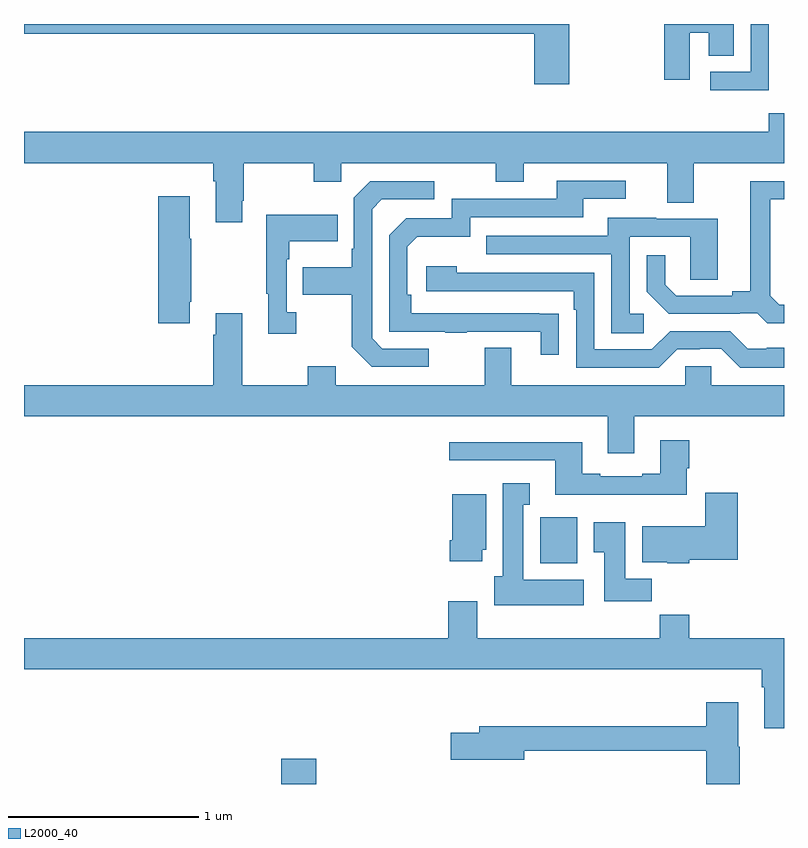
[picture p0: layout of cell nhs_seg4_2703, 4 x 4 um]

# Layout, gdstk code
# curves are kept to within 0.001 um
import gdstk
lib = gdstk.Library(unit=1e-6, precision=1e-09)
def R(c, l, rs):  # rectangles x0, y0, x1, y1
    for r in rs: c.add(gdstk.rectangle(r[:2], r[2:], *l))
def P(c, l, *ps):  # polygons
    for p in ps: c.add(gdstk.Polygon(p, *l))
L2000_40 = (2000, 40)

nhs_seg4_2703 = lib.new_cell('nhs_seg4_2703')
R(nhs_seg4_2703, L2000_40, [(254.354,778.9,254.537,779.032), (255.716,780.062,255.913,780.304)])
P(nhs_seg4_2703, L2000_40, [(256.504,782.855),(256.604,782.855),(256.604,782.734),(256.735,782.734),(256.735,782.9),(256.37,782.9),(256.37,782.607),(256.504,782.607)],
  [(255.869,782.9),(253,782.9),(253,782.848),(255.686,782.848),(255.686,782.583),(255.869,782.583)],
  [(256.92,782.9),(256.824,782.9),(256.824,782.649),(256.611,782.649),(256.611,782.551),(256.92,782.551)],
  [(253,782.168),(253.997,782.168),(253.997,782.072),(254.009,782.072),(254.009,781.857),(254.149,781.857),(254.149,781.969),(254.157,781.969),(254.157,782.168),(254.524,782.168),(254.524,782.069),(254.67,782.069),(254.67,782.168),(255.484,782.168),(255.484,782.069),(255.631,782.069),(255.631,782.168),(256.385,782.168),(256.385,781.96),(256.525,781.96),(256.525,782.168),(257,782.168),(257,782.431),(256.919,782.431),(256.919,782.332),(253,782.332)],
  [(255.815,781.376),(255.038,781.377),(255.038,781.474),(255.018,781.474),(255.018,781.728),(255.071,781.781),(255.348,781.781),(255.348,781.884),(255.943,781.884),(255.943,781.98),(256.168,781.98),(256.168,782.076),(255.803,782.076),(255.803,781.98),(255.252,781.98),(255.252,781.878),(255.012,781.878),(254.922,781.788),(254.922,781.281),(255.217,781.281),(255.217,781.276),(255.329,781.276),(255.329,781.281),(255.719,781.281),(255.719,781.158),(255.815,781.158)],
  [(257,781.422),(256.974,781.422),(256.927,781.469),(256.927,781.977),(257,781.977),(257,782.073),(256.823,782.073),(256.823,781.493),(256.727,781.493),(256.727,781.47),(256.432,781.47),(256.375,781.527),(256.375,781.684),(256.278,781.684),(256.278,781.49),(256.394,781.374),(256.766,781.374),(256.766,781.377),(256.86,781.377),(256.912,781.325),(257,781.325)],
  [(255.13,781.191),(254.886,781.191),(254.832,781.245),(254.832,781.926),(254.883,781.977),(255.16,781.977),(255.16,782.073),(254.823,782.073),(254.736,781.986),(254.736,781.717),(254.724,781.717),(254.724,781.621),(254.467,781.621),(254.467,781.474),(254.724,781.474),(254.724,781.201),(254.829,781.095),(255.13,781.095)],
  [(253.873,781.438),(253.881,781.438),(253.881,781.769),(253.873,781.769),(253.873,781.993),(253.706,781.993),(253.706,781.326),(253.873,781.326)],
  [(254.434,781.382),(254.382,781.382),(254.382,781.661),(254.395,781.661),(254.395,781.757),(254.651,781.757),(254.651,781.897),(254.274,781.897),(254.274,781.481),(254.285,781.481),(254.285,781.269),(254.434,781.269)],
  [(256.261,781.374),(256.188,781.374),(256.188,781.779),(256.506,781.779),(256.506,781.555),(256.651,781.555),(256.651,781.875),(256.327,781.875),(256.327,781.879),(256.073,781.879),(256.073,781.785),(255.433,781.785),(255.433,781.689),(256.092,781.689),(256.092,781.273),(256.261,781.273)],
  [(257,781.195),(256.909,781.195),(256.909,781.191),(256.809,781.191),(256.716,781.284),(256.401,781.284),(256.305,781.188),(256.002,781.188),(256.002,781.59),(255.278,781.59),(255.278,781.624),(255.117,781.624),(255.117,781.494),(255.893,781.494),(255.893,781.397),(255.906,781.397),(255.906,781.092),(256.341,781.092),(256.437,781.188),(256.556,781.188),(256.556,781.191),(256.671,781.191),(256.771,781.091),(257,781.091)],
  [(256.213,780.836),(257,780.836),(257,781),(256.617,781),(256.617,781.098),(256.479,781.098),(256.479,781),(255.565,781),(255.565,781.195),(255.425,781.195),(255.425,781),(254.641,781),(254.641,781.099),(254.494,781.099),(254.494,781),(254.149,781),(254.149,781.378),(254.009,781.378),(254.009,781.265),(253.997,781.265),(253.997,781),(253,781),(253,780.836),(256.073,780.836),(256.073,780.642),(256.213,780.642)],
  [(256.489,780.561),(256.502,780.561),(256.502,780.709),(256.349,780.709),(256.349,780.532),(256.253,780.532),(256.253,780.519),(256.033,780.519),(256.033,780.532),(255.937,780.532),(255.937,780.7),(255.237,780.7),(255.237,780.603),(255.797,780.603),(255.797,780.422),(256.489,780.422)],
  [(255.946,779.974),(255.628,779.974),(255.628,780.371),(255.661,780.371),(255.661,780.484),(255.521,780.484),(255.521,779.994),(255.476,779.994),(255.476,779.84),(255.946,779.84)],
  [(256.5,780.08),(256.757,780.08),(256.757,780.433),(256.586,780.433),(256.586,780.256),(256.253,780.256),(256.253,780.068),(256.386,780.068),(256.386,780.062),(256.5,780.062)],
  [(255.412,780.132),(255.433,780.132),(255.433,780.424),(255.254,780.424),(255.254,780.184),(255.242,780.184),(255.242,780.072),(255.412,780.072)],
  [(256.304,779.98),(256.165,779.98),(256.165,780.277),(255.998,780.277),(255.998,780.121),(256.055,780.121),(256.055,779.862),(256.304,779.862)],
  [(257,779.668),(256.502,779.668),(256.502,779.792),(256.345,779.792),(256.345,779.668),(255.385,779.668),(255.385,779.863),(255.233,779.863),(255.233,779.668),(253,779.668),(253,779.504),(256.883,779.504),(256.883,779.408),(256.895,779.408),(256.895,779.193),(257,779.193)],
  [(256.767,779.097),(256.759,779.097),(256.759,779.329),(256.592,779.329),(256.592,779.203),(255.395,779.203),(255.395,779.169),(255.246,779.169),(255.246,779.027),(255.634,779.027),(255.634,779.074),(256.592,779.074),(256.592,778.9),(256.767,778.9)])

lib.write_gds('nhs_seg4_2703.gds')
